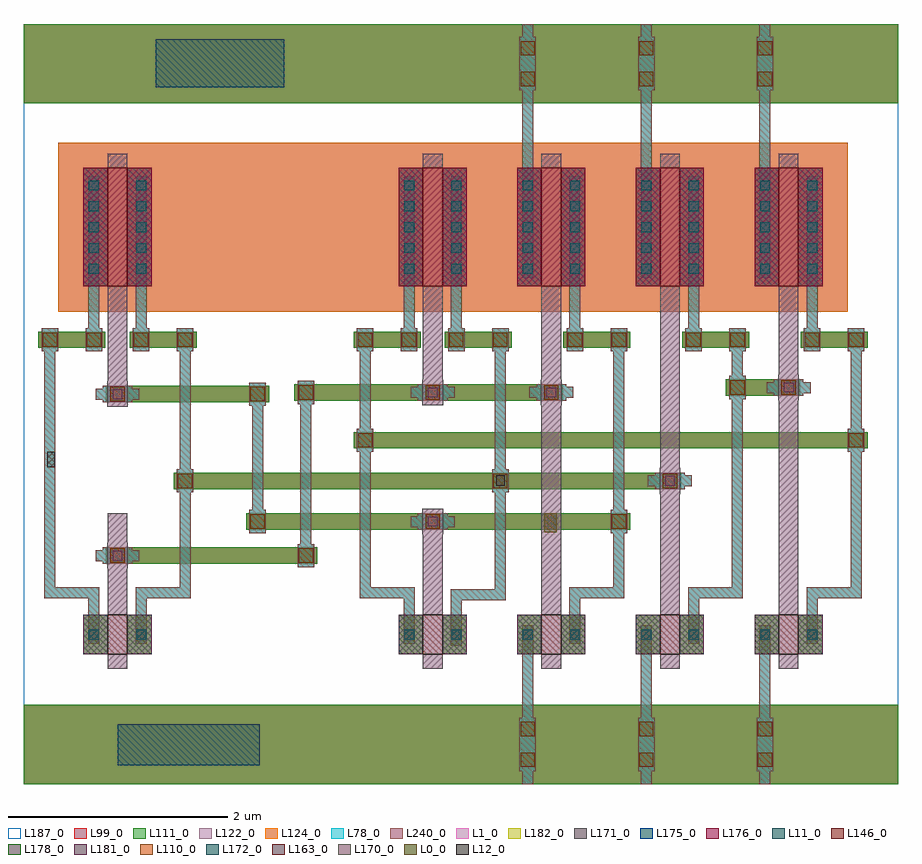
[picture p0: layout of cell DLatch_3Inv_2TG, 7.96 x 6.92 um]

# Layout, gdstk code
import gdstk
lib = gdstk.Library(unit=1e-6, precision=1e-09)
def R(c, l, rs):  # rectangles x0, y0, x1, y1
    for r in rs: c.add(gdstk.rectangle(r[:2], r[2:], *l))
def A(c, l, x, y, w, h, nx, ny, dx, dy):  # array of equal rectangles
    R(c, l, [(x+i*dx, y+j*dy, x+i*dx+w, y+j*dy+h) for i in range(nx) for j in range(ny)])
def P(c, l, *ps):  # polygons
    for p in ps: c.add(gdstk.Polygon(p, *l))
L0_0 = (0, 0)
L1_0 = (1, 0)
L11_0 = (11, 0)
L12_0 = (12, 0)
L78_0 = (78, 0)
L99_0 = (99, 0)
L110_0 = (110, 0)
L111_0 = (111, 0)
L122_0 = (122, 0)
L124_0 = (124, 0)
L146_0 = (146, 0)
L163_0 = (163, 0)
L170_0 = (170, 0)
L171_0 = (171, 0)
L172_0 = (172, 0)
L175_0 = (175, 0)
L176_0 = (176, 0)
L178_0 = (178, 0)
L181_0 = (181, 0)
L182_0 = (182, 0)
L187_0 = (187, 0)
L240_0 = (240, 0)

dlatch_3inv_2tg = lib.new_cell('DLatch_3Inv_2TG')
R(dlatch_3inv_2tg, L0_0, [(0.495,0.625,0.61,0.8)])
P(dlatch_3inv_2tg, L1_0, [(0.65,4.075),(0.65,2.015),(0.655,2.015),(0.655,1.785),(0.65,1.785),(0.65,-0.615),(0.47,-0.615),(0.47,1.785),(0.465,1.785),(0.465,2.015),(0.47,2.015),(0.47,4.075)],
  [(1.73,4.075),(1.73,1.21),(1.735,1.21),(1.735,0.98),(1.73,0.98),(1.73,-0.615),(1.55,-0.615),(1.55,0.98),(1.545,0.98),(1.545,1.21),(1.55,1.21),(1.55,4.075)],
  [(-0.43,4.075),(-0.43,2.015),(-0.425,2.015),(-0.425,1.785),(-0.615,1.785),(-0.615,2.015),(-0.61,2.015),(-0.61,4.075)],
  [(-3.3,4.075),(-3.3,2),(-3.295,2),(-3.295,1.77),(-3.485,1.77),(-3.485,2),(-3.48,2),(-3.48,4.075)],
  [(2.81,4.075),(2.81,2.06),(2.815,2.06),(2.815,1.83),(2.81,1.83),(2.81,-0.615),(2.63,-0.615),(2.63,1.83),(2.625,1.83),(2.625,2.06),(2.63,2.06),(2.63,4.075)],
  [(-3.3,0.8),(-3.3,0.53),(-3.295,0.53),(-3.295,0.3),(-3.3,0.3),(-3.3,-0.615),(-3.48,-0.615),(-3.48,0.3),(-3.485,0.3),(-3.485,0.53),(-3.48,0.53),(-3.48,0.8)],
  [(-0.425,0.84),(-0.425,0.61),(-0.43,0.61),(-0.43,-0.615),(-0.61,-0.615),(-0.61,0.61),(-0.615,0.61),(-0.615,0.84)])
R(dlatch_3inv_2tg, L11_0, [(-3.39,-1.495,-2.095,-1.12), (-3.04,4.68,-1.87,5.115)])
R(dlatch_3inv_2tg, L12_0, [(0.06,1.05,0.135,1.145), (-4.03,1.22,-3.96,1.36)])
P(dlatch_3inv_2tg, L78_0, [(-3.93,2.485),(-3.93,2.275),(-3.955,2.275),(-3.955,0.125),(-3.555,0.125),(-3.555,-0.39),(-3.655,-0.39),(-3.655,0.025),(-4.055,0.025),(-4.055,2.275),(-4.08,2.275),(-4.08,2.485)],
  [(-2.7,2.485),(-2.7,2.275),(-2.725,2.275),(-2.725,1.2),(-2.7,1.2),(-2.7,0.99),(-2.725,0.99),(-2.725,0.025),(-3.125,0.025),(-3.125,-0.39),(-3.225,-0.39),(-3.225,0.125),(-2.825,0.125),(-2.825,0.99),(-2.85,0.99),(-2.85,1.2),(-2.825,1.2),(-2.825,2.275),(-2.85,2.275),(-2.85,2.485)],
  [(-3.125,3.87),(-3.125,2.485),(-3.1,2.485),(-3.1,2.275),(-3.25,2.275),(-3.25,2.485),(-3.225,2.485),(-3.225,3.87)],
  [(-3.555,3.87),(-3.555,2.485),(-3.53,2.485),(-3.53,2.275),(-3.68,2.275),(-3.68,2.485),(-3.655,2.485),(-3.655,3.87)],
  [(-3.255,1.96),(-3.255,1.935),(-3.19,1.935),(-3.19,1.835),(-3.255,1.835),(-3.255,1.81),(-3.525,1.81),(-3.525,1.835),(-3.59,1.835),(-3.59,1.935),(-3.525,1.935),(-3.525,1.96)],
  [(-3.255,0.49),(-3.255,0.465),(-3.19,0.465),(-3.19,0.365),(-3.255,0.365),(-3.255,0.34),(-3.525,0.34),(-3.525,0.365),(-3.59,0.365),(-3.59,0.465),(-3.525,0.465),(-3.525,0.49)],
  [(-2.04,1.99),(-2.04,1.78),(-2.065,1.78),(-2.065,0.83),(-2.04,0.83),(-2.04,0.62),(-2.19,0.62),(-2.19,0.83),(-2.165,0.83),(-2.165,1.78),(-2.19,1.78),(-2.19,1.99)],
  [(-0.255,3.87),(-0.255,2.485),(-0.23,2.485),(-0.23,2.275),(-0.38,2.275),(-0.38,2.485),(-0.355,2.485),(-0.355,3.87)],
  [(-0.685,3.87),(-0.685,2.485),(-0.66,2.485),(-0.66,2.275),(-0.81,2.275),(-0.81,2.485),(-0.785,2.485),(-0.785,3.87)],
  [(-1.06,2.485),(-1.06,2.275),(-1.085,2.275),(-1.085,1.57),(-1.06,1.57),(-1.06,1.36),(-1.085,1.36),(-1.085,0.125),(-0.685,0.125),(-0.685,-0.39),(-0.785,-0.39),(-0.785,0.025),(-1.185,0.025),(-1.185,1.36),(-1.21,1.36),(-1.21,1.57),(-1.185,1.57),(-1.185,2.275),(-1.21,2.275),(-1.21,2.485)],
  [(-1.6,2.005),(-1.6,1.795),(-1.625,1.795),(-1.625,0.52),(-1.6,0.52),(-1.6,0.31),(-1.75,0.31),(-1.75,0.52),(-1.725,0.52),(-1.725,1.795),(-1.75,1.795),(-1.75,2.005)],
  [(0.17,2.485),(0.17,2.275),(0.145,2.275),(0.145,1.2),(0.17,1.2),(0.17,0.99),(0.145,0.99),(0.145,0.01),(-0.255,0.01),(-0.255,-0.405),(-0.355,-0.405),(-0.355,0.11),(0.045,0.11),(0.045,0.99),(0.02,0.99),(0.02,1.2),(0.045,1.2),(0.045,2.275),(0.02,2.275),(0.02,2.485)],
  [(-0.385,0.8),(-0.385,0.775),(-0.32,0.775),(-0.32,0.675),(-0.385,0.675),(-0.385,0.65),(-0.655,0.65),(-0.655,0.675),(-0.72,0.675),(-0.72,0.775),(-0.655,0.775),(-0.655,0.8)],
  [(-0.385,1.975),(-0.385,1.95),(-0.32,1.95),(-0.32,1.85),(-0.385,1.85),(-0.385,1.825),(-0.655,1.825),(-0.655,1.85),(-0.72,1.85),(-0.72,1.95),(-0.655,1.95),(-0.655,1.975)],
  [(0.825,3.87),(0.825,2.485),(0.85,2.485),(0.85,2.275),(0.7,2.275),(0.7,2.485),(0.725,2.485),(0.725,3.87)],
  [(1.25,2.485),(1.25,2.275),(1.225,2.275),(1.225,0.83),(1.25,0.83),(1.25,0.62),(1.225,0.62),(1.225,0.025),(0.825,0.025),(0.825,-0.39),(0.725,-0.39),(0.725,0.125),(1.125,0.125),(1.125,0.62),(1.1,0.62),(1.1,0.83),(1.125,0.83),(1.125,2.275),(1.1,2.275),(1.1,2.485)],
  [(0.395,-0.22),(0.395,-1.06),(0.42,-1.06),(0.42,-1.55),(0.395,-1.55),(0.395,-1.665),(0.295,-1.665),(0.295,-1.55),(0.27,-1.55),(0.27,-1.06),(0.295,-1.06),(0.295,-0.22)],
  [(1.475,-0.22),(1.475,-1.06),(1.5,-1.06),(1.5,-1.55),(1.475,-1.55),(1.475,-1.665),(1.375,-1.665),(1.375,-1.55),(1.35,-1.55),(1.35,-1.06),(1.375,-1.06),(1.375,-0.22)],
  [(0.395,5.255),(0.395,5.14),(0.42,5.14),(0.42,4.65),(0.395,4.65),(0.395,2.94),(0.295,2.94),(0.295,4.65),(0.27,4.65),(0.27,5.14),(0.295,5.14),(0.295,5.255)],
  [(1.475,5.255),(1.475,5.14),(1.5,5.14),(1.5,4.65),(1.475,4.65),(1.475,2.94),(1.375,2.94),(1.375,4.65),(1.35,4.65),(1.35,5.14),(1.375,5.14),(1.375,5.255)],
  [(1.775,1.17),(1.775,1.145),(1.84,1.145),(1.84,1.045),(1.775,1.045),(1.775,1.02),(1.505,1.02),(1.505,1.045),(1.44,1.045),(1.44,1.145),(1.505,1.145),(1.505,1.17)],
  [(0.695,1.975),(0.695,1.95),(0.76,1.95),(0.76,1.85),(0.695,1.85),(0.695,1.825),(0.425,1.825),(0.425,1.85),(0.36,1.85),(0.36,1.95),(0.425,1.95),(0.425,1.975)],
  [(1.905,3.87),(1.905,2.485),(1.93,2.485),(1.93,2.275),(1.78,2.275),(1.78,2.485),(1.805,2.485),(1.805,3.87)],
  [(2.33,2.485),(2.33,2.275),(2.305,2.275),(2.305,2.05),(2.33,2.05),(2.33,1.84),(2.305,1.84),(2.305,0.025),(1.905,0.025),(1.905,-0.39),(1.805,-0.39),(1.805,0.125),(2.205,0.125),(2.205,1.84),(2.18,1.84),(2.18,2.05),(2.205,2.05),(2.205,2.275),(2.18,2.275),(2.18,2.485)],
  [(2.985,3.87),(2.985,2.485),(3.01,2.485),(3.01,2.275),(2.86,2.275),(2.86,2.485),(2.885,2.485),(2.885,3.87)],
  [(2.555,-0.22),(2.555,-1.06),(2.58,-1.06),(2.58,-1.55),(2.555,-1.55),(2.555,-1.665),(2.455,-1.665),(2.455,-1.55),(2.43,-1.55),(2.43,-1.06),(2.455,-1.06),(2.455,-0.22)],
  [(2.555,5.255),(2.555,5.14),(2.58,5.14),(2.58,4.65),(2.555,4.65),(2.555,2.94),(2.455,2.94),(2.455,4.65),(2.43,4.65),(2.43,5.14),(2.455,5.14),(2.455,5.255)],
  [(3.41,2.485),(3.41,2.275),(3.385,2.275),(3.385,1.57),(3.41,1.57),(3.41,1.36),(3.385,1.36),(3.385,0.025),(2.985,0.025),(2.985,-0.39),(2.885,-0.39),(2.885,0.125),(3.285,0.125),(3.285,1.36),(3.26,1.36),(3.26,1.57),(3.285,1.57),(3.285,2.275),(3.26,2.275),(3.26,2.485)],
  [(2.855,2.02),(2.855,1.995),(2.92,1.995),(2.92,1.895),(2.855,1.895),(2.855,1.87),(2.585,1.87),(2.585,1.895),(2.52,1.895),(2.52,1.995),(2.585,1.995),(2.585,2.02)])
A(dlatch_3inv_2tg, L99_0, -0.41, 2.305, 0.61, 0.15, 4, 1, 1.08, 0)
R(dlatch_3inv_2tg, L99_0, [(-4.245,-1.665,3.72,-0.945), (-3.495,0.34,-1.57,0.49), (-2.22,0.65,1.28,0.8), (-2.88,1.02,1.745,1.17), (-1.24,1.39,3.44,1.54), (-3.495,1.81,-2.01,1.96), (-1.78,1.825,0.665,1.975), (2.15,1.87,2.825,2.02), (-4.11,2.305,-3.5,2.455), (-3.28,2.305,-2.67,2.455), (-1.24,2.305,-0.63,2.455), (-4.245,4.535,3.72,5.255)])
A(dlatch_3inv_2tg, L110_0, 0.28, -1.51, 0.13, 0.13, 3, 2, 1.08, 0.28)
A(dlatch_3inv_2tg, L110_0, 0.28, 4.69, 0.13, 0.13, 3, 2, 1.08, 0.28)
R(dlatch_3inv_2tg, L110_0, [(-3.455,0.35,-3.325,0.48), (-1.74,0.35,-1.61,0.48), (-2.18,0.66,-2.05,0.79), (-0.585,0.66,-0.455,0.79), (1.11,0.66,1.24,0.79), (-2.84,1.03,-2.71,1.16), (0.03,1.03,0.16,1.16), (1.575,1.03,1.705,1.16), (-1.2,1.4,-1.07,1.53), (3.27,1.4,3.4,1.53), (-3.455,1.82,-3.325,1.95), (-2.18,1.82,-2.05,1.95), (-1.74,1.835,-1.61,1.965), (-0.585,1.835,-0.455,1.965), (0.495,1.835,0.625,1.965), (2.19,1.88,2.32,2.01), (2.655,1.88,2.785,2.01), (-4.07,2.315,-3.94,2.445), (-3.67,2.315,-3.54,2.445), (-3.24,2.315,-3.11,2.445), (-2.84,2.315,-2.71,2.445), (-1.2,2.315,-1.07,2.445), (-0.8,2.315,-0.67,2.445), (-0.37,2.315,-0.24,2.445), (0.03,2.315,0.16,2.445), (0.71,2.315,0.84,2.445), (1.11,2.315,1.24,2.445), (1.79,2.315,1.92,2.445), (2.19,2.315,2.32,2.445), (2.87,2.315,3,2.445), (3.27,2.315,3.4,2.445)])
A(dlatch_3inv_2tg, L111_0, -0.41, 2.305, 0.61, 0.15, 4, 1, 1.08, 0)
R(dlatch_3inv_2tg, L111_0, [(-4.245,-1.665,3.72,-0.945), (-3.495,0.34,-1.57,0.49), (-2.22,0.65,1.28,0.8), (-2.88,1.02,1.745,1.17), (-1.24,1.39,3.44,1.54), (-3.495,1.81,-2.01,1.96), (-1.78,1.825,0.665,1.975), (2.15,1.87,2.825,2.02), (-4.11,2.305,-3.5,2.455), (-3.28,2.305,-2.67,2.455), (-1.24,2.305,-0.63,2.455), (-4.245,4.535,3.72,5.255)])
R(dlatch_3inv_2tg, L122_0, [(-3.93,2.635,3.26,4.175)])
R(dlatch_3inv_2tg, L124_0, [(-3.93,2.635,3.26,4.175)])
A(dlatch_3inv_2tg, L146_0, -0.61, 2.865, 0.18, 1.08, 4, 1, 1.08, 0)
R(dlatch_3inv_2tg, L146_0, [(-3.48,2.865,-3.3,3.945)])
A(dlatch_3inv_2tg, L163_0, -0.61, -0.485, 0.18, 0.36, 4, 1, 1.08, 0)
R(dlatch_3inv_2tg, L163_0, [(-3.48,-0.485,-3.3,-0.125)])
R(dlatch_3inv_2tg, L170_0, [(-3.435,0.37,-3.345,0.46), (-0.565,0.68,-0.475,0.77), (1.595,1.05,1.685,1.14), (-3.435,1.84,-3.345,1.93), (-0.565,1.855,-0.475,1.945), (0.515,1.855,0.605,1.945), (2.675,1.9,2.765,1.99)])
A(dlatch_3inv_2tg, L171_0, -0.61, -0.615, 0.18, 0.13, 4, 2, 1.08, 4.56)
R(dlatch_3inv_2tg, L171_0, [(-3.48,-0.615,-3.3,-0.485), (-3.48,3.945,-3.3,4.075)])
P(dlatch_3inv_2tg, L171_0, [(-0.425,0.84),(-0.425,0.61),(-0.43,0.61),(-0.43,-0.125),(-0.61,-0.125),(-0.61,0.61),(-0.615,0.61),(-0.615,0.84)],
  [(-3.3,0.8),(-3.3,0.53),(-3.295,0.53),(-3.295,0.3),(-3.3,0.3),(-3.3,-0.125),(-3.48,-0.125),(-3.48,0.3),(-3.485,0.3),(-3.485,0.53),(-3.48,0.53),(-3.48,0.8)],
  [(2.81,2.865),(2.81,2.06),(2.815,2.06),(2.815,1.83),(2.81,1.83),(2.81,-0.125),(2.63,-0.125),(2.63,1.83),(2.625,1.83),(2.625,2.06),(2.63,2.06),(2.63,2.865)],
  [(-3.3,2.865),(-3.3,2),(-3.295,2),(-3.295,1.77),(-3.485,1.77),(-3.485,2),(-3.48,2),(-3.48,2.865)],
  [(-0.43,2.865),(-0.43,2.015),(-0.425,2.015),(-0.425,1.785),(-0.615,1.785),(-0.615,2.015),(-0.61,2.015),(-0.61,2.865)],
  [(1.73,2.865),(1.73,1.21),(1.735,1.21),(1.735,0.98),(1.73,0.98),(1.73,-0.125),(1.55,-0.125),(1.55,0.98),(1.545,0.98),(1.545,1.21),(1.55,1.21),(1.55,2.865)],
  [(0.65,2.865),(0.65,2.015),(0.655,2.015),(0.655,1.785),(0.65,1.785),(0.65,-0.125),(0.47,-0.125),(0.47,1.785),(0.465,1.785),(0.465,2.015),(0.47,2.015),(0.47,2.865)])
A(dlatch_3inv_2tg, L172_0, -3.65, 2.98, 0.09, 0.09, 1, 5, 0, 0.19)
A(dlatch_3inv_2tg, L172_0, -3.22, 2.98, 0.09, 0.09, 1, 5, 0, 0.19)
A(dlatch_3inv_2tg, L172_0, -0.78, 2.98, 0.09, 0.09, 1, 5, 0, 0.19)
A(dlatch_3inv_2tg, L172_0, -0.35, 2.98, 0.09, 0.09, 1, 5, 0, 0.19)
A(dlatch_3inv_2tg, L172_0, 0.3, 2.98, 0.09, 0.09, 1, 5, 0, 0.19)
A(dlatch_3inv_2tg, L172_0, 0.73, 2.98, 0.09, 0.09, 1, 5, 0, 0.19)
A(dlatch_3inv_2tg, L172_0, 1.38, 2.98, 0.09, 0.09, 1, 5, 0, 0.19)
A(dlatch_3inv_2tg, L172_0, 1.81, 2.98, 0.09, 0.09, 1, 5, 0, 0.19)
A(dlatch_3inv_2tg, L172_0, 2.46, 2.98, 0.09, 0.09, 1, 5, 0, 0.19)
A(dlatch_3inv_2tg, L172_0, 2.89, 2.98, 0.09, 0.09, 1, 5, 0, 0.19)
R(dlatch_3inv_2tg, L172_0, [(-3.65,-0.35,-3.56,-0.26), (-3.22,-0.35,-3.13,-0.26), (-0.78,-0.35,-0.69,-0.26), (-0.35,-0.35,-0.26,-0.26), (0.3,-0.35,0.39,-0.26), (0.73,-0.35,0.82,-0.26), (1.38,-0.35,1.47,-0.26), (1.81,-0.35,1.9,-0.26), (2.46,-0.35,2.55,-0.26), (2.89,-0.35,2.98,-0.26)])
R(dlatch_3inv_2tg, L175_0, [(-3.7,2.865,-3.48,3.945), (-3.3,2.865,-3.08,3.945), (-0.83,2.865,-0.61,3.945), (-0.43,2.865,-0.21,3.945), (0.25,2.865,0.47,3.945), (0.65,2.865,0.87,3.945), (1.33,2.865,1.55,3.945), (1.73,2.865,1.95,3.945), (2.41,2.865,2.63,3.945), (2.81,2.865,3.03,3.945)])
R(dlatch_3inv_2tg, L176_0, [(-3.7,2.865,-3.48,3.945), (-3.3,2.865,-3.08,3.945), (-0.83,2.865,-0.61,3.945), (-0.43,2.865,-0.21,3.945), (0.25,2.865,0.47,3.945), (0.65,2.865,0.87,3.945), (1.33,2.865,1.55,3.945), (1.73,2.865,1.95,3.945), (2.41,2.865,2.63,3.945), (2.81,2.865,3.03,3.945)])
R(dlatch_3inv_2tg, L178_0, [(-3.7,-0.485,-3.48,-0.125), (-3.3,-0.485,-3.08,-0.125), (-0.83,-0.485,-0.61,-0.125), (-0.43,-0.485,-0.21,-0.125), (0.25,-0.485,0.47,-0.125), (0.65,-0.485,0.87,-0.125), (1.33,-0.485,1.55,-0.125), (1.73,-0.485,1.95,-0.125), (2.41,-0.485,2.63,-0.125), (2.81,-0.485,3.03,-0.125)])
R(dlatch_3inv_2tg, L181_0, [(-3.7,-0.485,-3.48,-0.125), (-3.3,-0.485,-3.08,-0.125), (-0.83,-0.485,-0.61,-0.125), (-0.43,-0.485,-0.21,-0.125), (0.25,-0.485,0.47,-0.125), (0.65,-0.485,0.87,-0.125), (1.33,-0.485,1.55,-0.125), (1.73,-0.485,1.95,-0.125), (2.41,-0.485,2.63,-0.125), (2.81,-0.485,3.03,-0.125)])
R(dlatch_3inv_2tg, L182_0, [(-3.7,-0.485,-3.48,-0.125), (-3.3,-0.485,-3.08,-0.125), (-0.83,-0.485,-0.61,-0.125), (-0.43,-0.485,-0.21,-0.125), (0.25,-0.485,0.47,-0.125), (0.65,-0.485,0.87,-0.125), (1.33,-0.485,1.55,-0.125), (1.73,-0.485,1.95,-0.125), (2.41,-0.485,2.63,-0.125), (2.81,-0.485,3.03,-0.125), (-3.7,2.865,-3.48,3.945), (-3.3,2.865,-3.08,3.945), (-0.83,2.865,-0.61,3.945), (-0.43,2.865,-0.21,3.945), (0.25,2.865,0.47,3.945), (0.65,2.865,0.87,3.945), (1.33,2.865,1.55,3.945), (1.73,2.865,1.95,3.945), (2.41,2.865,2.63,3.945), (2.81,2.865,3.03,3.945)])
R(dlatch_3inv_2tg, L187_0, [(-4.245,-1.665,3.72,5.255)])
P(dlatch_3inv_2tg, L240_0, [(-3.93,2.485),(-3.93,2.275),(-3.955,2.275),(-3.955,0.125),(-3.555,0.125),(-3.555,-0.39),(-3.655,-0.39),(-3.655,0.025),(-4.055,0.025),(-4.055,2.275),(-4.08,2.275),(-4.08,2.485)],
  [(-2.7,2.485),(-2.7,2.275),(-2.725,2.275),(-2.725,1.2),(-2.7,1.2),(-2.7,0.99),(-2.725,0.99),(-2.725,0.025),(-3.125,0.025),(-3.125,-0.39),(-3.225,-0.39),(-3.225,0.125),(-2.825,0.125),(-2.825,0.99),(-2.85,0.99),(-2.85,1.2),(-2.825,1.2),(-2.825,2.275),(-2.85,2.275),(-2.85,2.485)],
  [(-3.125,3.87),(-3.125,2.485),(-3.1,2.485),(-3.1,2.275),(-3.25,2.275),(-3.25,2.485),(-3.225,2.485),(-3.225,3.87)],
  [(-3.555,3.87),(-3.555,2.485),(-3.53,2.485),(-3.53,2.275),(-3.68,2.275),(-3.68,2.485),(-3.655,2.485),(-3.655,3.87)],
  [(-3.255,1.96),(-3.255,1.935),(-3.19,1.935),(-3.19,1.835),(-3.255,1.835),(-3.255,1.81),(-3.525,1.81),(-3.525,1.835),(-3.59,1.835),(-3.59,1.935),(-3.525,1.935),(-3.525,1.96)],
  [(-3.255,0.49),(-3.255,0.465),(-3.19,0.465),(-3.19,0.365),(-3.255,0.365),(-3.255,0.34),(-3.525,0.34),(-3.525,0.365),(-3.59,0.365),(-3.59,0.465),(-3.525,0.465),(-3.525,0.49)],
  [(-2.04,1.99),(-2.04,1.78),(-2.065,1.78),(-2.065,0.83),(-2.04,0.83),(-2.04,0.62),(-2.19,0.62),(-2.19,0.83),(-2.165,0.83),(-2.165,1.78),(-2.19,1.78),(-2.19,1.99)],
  [(-0.255,3.87),(-0.255,2.485),(-0.23,2.485),(-0.23,2.275),(-0.38,2.275),(-0.38,2.485),(-0.355,2.485),(-0.355,3.87)],
  [(-0.685,3.87),(-0.685,2.485),(-0.66,2.485),(-0.66,2.275),(-0.81,2.275),(-0.81,2.485),(-0.785,2.485),(-0.785,3.87)],
  [(-1.06,2.485),(-1.06,2.275),(-1.085,2.275),(-1.085,1.57),(-1.06,1.57),(-1.06,1.36),(-1.085,1.36),(-1.085,0.125),(-0.685,0.125),(-0.685,-0.39),(-0.785,-0.39),(-0.785,0.025),(-1.185,0.025),(-1.185,1.36),(-1.21,1.36),(-1.21,1.57),(-1.185,1.57),(-1.185,2.275),(-1.21,2.275),(-1.21,2.485)],
  [(-1.6,2.005),(-1.6,1.795),(-1.625,1.795),(-1.625,0.52),(-1.6,0.52),(-1.6,0.31),(-1.75,0.31),(-1.75,0.52),(-1.725,0.52),(-1.725,1.795),(-1.75,1.795),(-1.75,2.005)],
  [(0.17,2.485),(0.17,2.275),(0.145,2.275),(0.145,1.2),(0.17,1.2),(0.17,0.99),(0.145,0.99),(0.145,0.01),(-0.255,0.01),(-0.255,-0.405),(-0.355,-0.405),(-0.355,0.11),(0.045,0.11),(0.045,0.99),(0.02,0.99),(0.02,1.2),(0.045,1.2),(0.045,2.275),(0.02,2.275),(0.02,2.485)],
  [(-0.385,0.8),(-0.385,0.775),(-0.32,0.775),(-0.32,0.675),(-0.385,0.675),(-0.385,0.65),(-0.655,0.65),(-0.655,0.675),(-0.72,0.675),(-0.72,0.775),(-0.655,0.775),(-0.655,0.8)],
  [(-0.385,1.975),(-0.385,1.95),(-0.32,1.95),(-0.32,1.85),(-0.385,1.85),(-0.385,1.825),(-0.655,1.825),(-0.655,1.85),(-0.72,1.85),(-0.72,1.95),(-0.655,1.95),(-0.655,1.975)],
  [(0.825,3.87),(0.825,2.485),(0.85,2.485),(0.85,2.275),(0.7,2.275),(0.7,2.485),(0.725,2.485),(0.725,3.87)],
  [(1.25,2.485),(1.25,2.275),(1.225,2.275),(1.225,0.83),(1.25,0.83),(1.25,0.62),(1.225,0.62),(1.225,0.025),(0.825,0.025),(0.825,-0.39),(0.725,-0.39),(0.725,0.125),(1.125,0.125),(1.125,0.62),(1.1,0.62),(1.1,0.83),(1.125,0.83),(1.125,2.275),(1.1,2.275),(1.1,2.485)],
  [(0.395,-0.22),(0.395,-1.06),(0.42,-1.06),(0.42,-1.55),(0.395,-1.55),(0.395,-1.665),(0.295,-1.665),(0.295,-1.55),(0.27,-1.55),(0.27,-1.06),(0.295,-1.06),(0.295,-0.22)],
  [(1.475,-0.22),(1.475,-1.06),(1.5,-1.06),(1.5,-1.55),(1.475,-1.55),(1.475,-1.665),(1.375,-1.665),(1.375,-1.55),(1.35,-1.55),(1.35,-1.06),(1.375,-1.06),(1.375,-0.22)],
  [(0.395,5.255),(0.395,5.14),(0.42,5.14),(0.42,4.65),(0.395,4.65),(0.395,2.94),(0.295,2.94),(0.295,4.65),(0.27,4.65),(0.27,5.14),(0.295,5.14),(0.295,5.255)],
  [(1.475,5.255),(1.475,5.14),(1.5,5.14),(1.5,4.65),(1.475,4.65),(1.475,2.94),(1.375,2.94),(1.375,4.65),(1.35,4.65),(1.35,5.14),(1.375,5.14),(1.375,5.255)],
  [(1.775,1.17),(1.775,1.145),(1.84,1.145),(1.84,1.045),(1.775,1.045),(1.775,1.02),(1.505,1.02),(1.505,1.045),(1.44,1.045),(1.44,1.145),(1.505,1.145),(1.505,1.17)],
  [(0.695,1.975),(0.695,1.95),(0.76,1.95),(0.76,1.85),(0.695,1.85),(0.695,1.825),(0.425,1.825),(0.425,1.85),(0.36,1.85),(0.36,1.95),(0.425,1.95),(0.425,1.975)],
  [(1.905,3.87),(1.905,2.485),(1.93,2.485),(1.93,2.275),(1.78,2.275),(1.78,2.485),(1.805,2.485),(1.805,3.87)],
  [(2.33,2.485),(2.33,2.275),(2.305,2.275),(2.305,2.05),(2.33,2.05),(2.33,1.84),(2.305,1.84),(2.305,0.025),(1.905,0.025),(1.905,-0.39),(1.805,-0.39),(1.805,0.125),(2.205,0.125),(2.205,1.84),(2.18,1.84),(2.18,2.05),(2.205,2.05),(2.205,2.275),(2.18,2.275),(2.18,2.485)],
  [(2.985,3.87),(2.985,2.485),(3.01,2.485),(3.01,2.275),(2.86,2.275),(2.86,2.485),(2.885,2.485),(2.885,3.87)],
  [(2.555,-0.22),(2.555,-1.06),(2.58,-1.06),(2.58,-1.55),(2.555,-1.55),(2.555,-1.665),(2.455,-1.665),(2.455,-1.55),(2.43,-1.55),(2.43,-1.06),(2.455,-1.06),(2.455,-0.22)],
  [(2.555,5.255),(2.555,5.14),(2.58,5.14),(2.58,4.65),(2.555,4.65),(2.555,2.94),(2.455,2.94),(2.455,4.65),(2.43,4.65),(2.43,5.14),(2.455,5.14),(2.455,5.255)],
  [(3.41,2.485),(3.41,2.275),(3.385,2.275),(3.385,1.57),(3.41,1.57),(3.41,1.36),(3.385,1.36),(3.385,0.025),(2.985,0.025),(2.985,-0.39),(2.885,-0.39),(2.885,0.125),(3.285,0.125),(3.285,1.36),(3.26,1.36),(3.26,1.57),(3.285,1.57),(3.285,2.275),(3.26,2.275),(3.26,2.485)],
  [(2.855,2.02),(2.855,1.995),(2.92,1.995),(2.92,1.895),(2.855,1.895),(2.855,1.87),(2.585,1.87),(2.585,1.895),(2.52,1.895),(2.52,1.995),(2.585,1.995),(2.585,2.02)])

lib.write_gds('DLatch_3Inv_2TG.gds')
